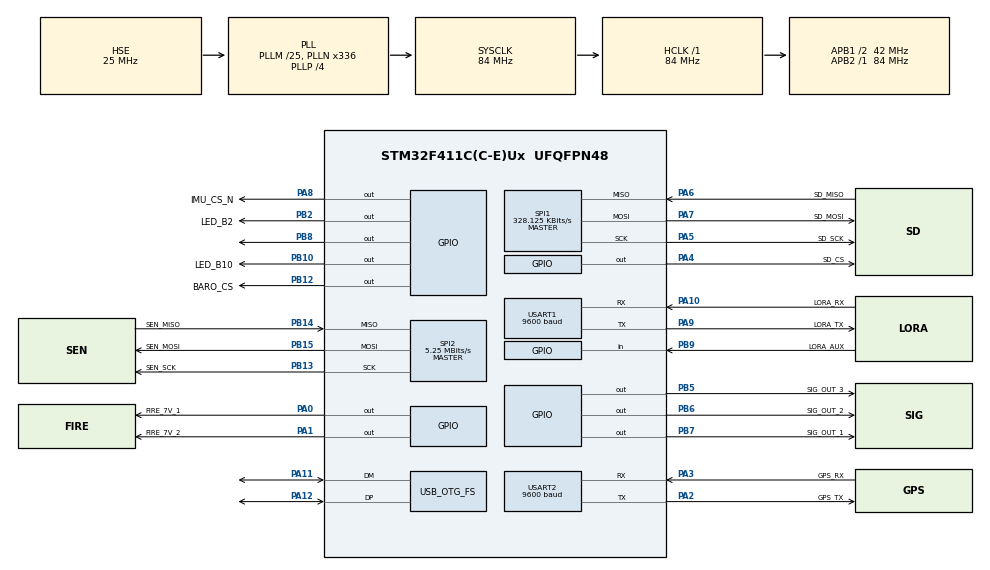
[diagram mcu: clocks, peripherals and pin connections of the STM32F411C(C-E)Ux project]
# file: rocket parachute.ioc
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FATFS._USE_LFN=3
Mcu.Family=STM32F4
Mcu.Name=STM32F411C(C-E)Ux
Mcu.Package=UFQFPN48
NVIC.OTG_FS_IRQn=true\:0\:0\:false\:false\:true\:false\:true\:true
NVIC.PriorityGroup=NVIC_PRIORITYGROUP_4
NVIC.USART1_IRQn=true\:0\:0\:false\:false\:true\:true\:true\:true
NVIC.USART2_IRQn=true\:0\:0\:false\:false\:true\:true\:true\:true
NVIC.TIM2_IRQn=true\:0\:0\:false\:false\:true\:true\:true\:true
PA0-WKUP.GPIO_Label=FIRE_7V_1
PA0-WKUP.Signal=GPIO_Output
PA1.GPIO_Label=FIRE_7V_2
PA1.Signal=GPIO_Output
PA10.GPIO_Label=LORA_RX
PA10.Mode=Asynchronous
PA10.Signal=USART1_RX
PA11.Mode=Device_Only
PA11.Signal=USB_OTG_FS_DM
PA12.Mode=Device_Only
PA12.Signal=USB_OTG_FS_DP
PA2.GPIO_Label=GPS_TX
PA2.Mode=Asynchronous
PA2.Signal=USART2_TX
PA3.GPIO_Label=GPS_RX
PA3.Mode=Asynchronous
PA3.Signal=USART2_RX
PA4.GPIO_Label=SD_CS
PA4.GPIO_PuPd=GPIO_PULLUP
PA4.GPIO_Speed=GPIO_SPEED_FREQ_VERY_HIGH
PA4.PinState=GPIO_PIN_SET
PA4.Signal=GPIO_Output
PA5.GPIO_Label=SD_SCK 
PA5.GPIO_PuPd=GPIO_PULLUP
PA5.Mode=Full_Duplex_Master
PA5.Signal=SPI1_SCK
PA6.GPIO_Label=SD_MISO
PA6.GPIO_PuPd=GPIO_PULLUP
PA6.Mode=Full_Duplex_Master
PA6.Signal=SPI1_MISO
PA7.GPIO_Label=SD_MOSI
PA7.GPIO_PuPd=GPIO_PULLUP
PA7.Mode=Full_Duplex_Master
PA7.Signal=SPI1_MOSI
PA8.GPIO_Label=IMU_CS_N
PA8.PinState=GPIO_PIN_SET
PA8.Signal=GPIO_Output
PA9.GPIO_Label=LORA_TX
PA9.Mode=Asynchronous
PA9.Signal=USART1_TX
PB10.GPIO_Label=LED_B10
PB10.Signal=GPIO_Output
PB12.GPIO_Label=BARO_CS
PB12.PinState=GPIO_PIN_SET
PB12.Signal=GPIO_Output
PB13.GPIO_Label=SEN_SCK
PB13.Mode=Full_Duplex_Master
PB13.Signal=SPI2_SCK
PB14.GPIO_Label=SEN_MISO
PB14.Mode=Full_Duplex_Master
PB14.Signal=SPI2_MISO
PB15.GPIO_Label=SEN_MOSI
PB15.Mode=Full_Duplex_Master
PB15.Signal=SPI2_MOSI
PB2.GPIO_Label=LED_B2
PB2.PinState=GPIO_PIN_SET
PB2.Signal=GPIO_Output
PB5.GPIO_Label=SIG_OUT_3
PB5.Signal=GPIO_Output
PB6.GPIO_Label=SIG_OUT_2
PB6.Signal=GPIO_Output
PB7.GPIO_Label=SIG_OUT_1
PB7.Signal=GPIO_Output
PB8.Signal=GPIO_Output
PB9.GPIO_Label=LORA_AUX
PB9.Signal=GPIO_Input
PC14-OSC32_IN.Mode=LSE-External-Oscillator
PC14-OSC32_IN.Signal=RCC_OSC32_IN
PC15-OSC32_OUT.Mode=LSE-External-Oscillator
PC15-OSC32_OUT.Signal=RCC_OSC32_OUT
PH0\ -\ OSC_IN.Mode=HSE-External-Oscillator
PH0\ -\ OSC_IN.Signal=RCC_OSC_IN
PH1\ -\ OSC_OUT.Mode=HSE-External-Oscillator
PH1\ -\ OSC_OUT.Signal=RCC_OSC_OUT
ProjectManager.HeapSize=0x800
ProjectManager.StackSize=0x1000
ProjectManager.TargetToolchain=STM32CubeIDE
RCC.48MHZClocksFreq_Value=48000000
RCC.AHBFreq_Value=84000000
RCC.APB1CLKDivider=RCC_HCLK_DIV2
RCC.APB1Freq_Value=42000000
RCC.APB1TimFreq_Value=84000000
RCC.APB2Freq_Value=84000000
RCC.APB2TimFreq_Value=84000000
RCC.CortexFreq_Value=84000000
RCC.HCLKFreq_Value=84000000
RCC.HSE_VALUE=25000000
RCC.HSI_VALUE=16000000
RCC.PLLM=25
RCC.PLLN=336
RCC.PLLP=RCC_PLLP_DIV4
RCC.PLLQ=7
RCC.SYSCLKFreq_VALUE=84000000
RCC.SYSCLKSource=RCC_SYSCLKSOURCE_PLLCLK
RCC.VCOOutputFreq_Value=336000000
SPI1.BaudRatePrescaler=SPI_BAUDRATEPRESCALER_256
SPI1.CalculateBaudRate=328.125 KBits/s
SPI1.Direction=SPI_DIRECTION_2LINES
SPI1.Mode=SPI_MODE_MASTER
SPI1.VirtualType=VM_MASTER
SPI2.BaudRatePrescaler=SPI_BAUDRATEPRESCALER_8
SPI2.CLKPhase=SPI_PHASE_2EDGE
SPI2.CLKPolarity=SPI_POLARITY_HIGH
SPI2.CalculateBaudRate=5.25 MBits/s
SPI2.Direction=SPI_DIRECTION_2LINES
SPI2.Mode=SPI_MODE_MASTER
SPI2.VirtualType=VM_MASTER
USART1.BaudRate=9600
USART1.VirtualMode=VM_ASYNC
USART2.BaudRate=9600
USART2.VirtualMode=VM_ASYNC
USB_DEVICE.CLASS_NAME_FS=CDC
USB_DEVICE.VirtualMode=Cdc
USB_DEVICE.VirtualModeFS=Cdc_FS
USB_OTG_FS.VirtualMode=Device_Only
VP_FATFS_VS_Generic.Mode=User_defined
TIM2.Period=1999
TIM2.Prescaler=83
VP_TIM2_VS_ClockSourceINT.Mode=Internal
VP_USB_DEVICE_VS_USB_DEVICE_CDC_FS.Mode=CDC_FS
board=custom

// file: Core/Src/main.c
/* USER CODE BEGIN Header */
/**
  ******************************************************************************
  * @file           : main.c
  * @brief          : 降落傘投放測試韌體（rocket parachute）— 黑丸版
  *
  * 目標：量得準（終端速度）。500Hz IMU CSV + KF2 高度/速度融合。
  * 無開傘邏輯、無 GNSS —— 特性化記錄工具。
  * LoRa（E22 透傳，USART1）：2Hz 遙測 TX，用火箭↔地面共用協定
  *   （shared/protocol.h），地面站不改即可同時收本韌體與飛行韌體。
  *
  * 硬體平台（2026-06-30 起）：WeAct STM32F411 黑丸版 + 自製載板
  *   時鐘   ：HSE 25MHz → PLL → 84MHz（黑丸版板載晶振）
  *   感測器 ：SPI2（PB13/14/15，mode 3）BMP585 CS=PB12、GY-LSM6DS3 CS=PA8
  *   SD 卡  ：SPI1（PA5/6/7）CS=PA4，74HC125 模組，sd_diskio_spi（ChaN）
  *   USB    ：CDC（PA11/PA12），指令列 + 遙測輸出
  *   ★ 載板留有發火通道 PA0/PA1（電火頭）：本韌體開機即拉低、絕不驅動。
  ******************************************************************************
  */
/* USER CODE END Header */
#include "main.h"
#include "fatfs.h"
#include "spi.h"
#include "tim.h"
#include "usart.h"
#include "usb_device.h"
#include "gpio.h"

/* USER CODE BEGIN Includes */
#include <stdint.h>
#include <stdio.h>
#include <string.h>
#include <math.h>

#include "sdcard.h"
#include "logger.h"
#include "bmp585.h"
#include "cmd.h"
#include "imu_fast.h"
#include "lora_e22.h"        /* E22 透傳 LoRa：投放測試遙測（TX，共用協定）*/
#include "sd_diskio_spi.h"   /* SD_disk_initialize：SD 硬重置用 */

/* USB CDC */
#include "usbd_cdc_if.h"
#include "usbd_def.h"
extern uint8_t CDC_Transmit_FS(uint8_t* Buf, uint16_t Len);
extern USBD_HandleTypeDef hUsbDeviceFS;

/* USER CODE END Includes */

/* USER CODE BEGIN PD */
#define MAH_2KP         1.0f      /* Mahony 比例增益 × 2 */
#define MAH_2KI         0.01f     /* Mahony 積分增益 × 2 */

/* ---- 氣壓卡爾曼濾波器參數 ---- */
#define KF_Q  0.1f    /* 過程雜訊方差 (hPa²)：越大追蹤越快 */
#define KF_R  0.01f   /* 量測雜訊方差 (hPa²)：BMP585 RMS≈0.03hPa */

/* ---- 2D 卡爾曼濾波器參數（高度 + 速度，IMU+baro 融合）----
 * ★ 投放測試調校版（與飛行韌體不同）：lin_az 限幅 ±3g、無高g膨脹R。
 *   飛行韌體限幅 ±16g 是為了不砍推力；投放測試沒有推力段，
 *   ±3g 反而能擋掉衝擊事件對速度估算的污染。
 * Q_H：高度過程雜訊，越小越信任 IMU 預測
 * Q_V：速度過程雜訊，越大越快用 baro 修正 IMU 漂移
 * R_H：氣壓計量測雜訊方差（BMP585 高度 RMS ≈ ±0.5m → 0.25）*/
#define KF2_Q_H   0.0001f  /* 高度過程雜訊 */
#define KF2_Q_V   0.002f   /* 速度過程雜訊（每 10ms 步）
                            * 0.002 ≈ 容忍 ~0.5m/s² 的姿態/偏移誤差，
                            *   靜態速度噪聲 σ≈0.25m/s，收斂 <1s —
                            *   符合 10~20m 投放、終端速度 3~6m/s 的量測需求。
                            * 歷史：曾因 TIM2 bug（IMU 無資料→預測步未執行→K1=0）
                            *   誤判為「Q 太小無法修正」而調到 0.5（→速度≈氣壓微分，
                            *   噪聲 ±0.5~1m/s）。TIM2 修復後不需要。            */
#define KF2_R_H   0.25f    /* 氣壓計高度量測雜訊方差 (±0.5m RMS) */
/* USER CODE END PD */

/* USER CODE BEGIN PM */
/* 感測器 SPI：BMP585 + LSM6DSO 共用 SPI2（黑丸版載板）*/
extern SPI_HandleTypeDef hspi2;

/* USER CODE END PM */

void SystemClock_Config(void);

/* USER CODE BEGIN 0 */

static float         ref_press      = 1013.25f; /* 地面氣壓，啟動時初始化 */
static float         rel_alt        = 0.0f;     /* 相對高度（m） */

/* =========================
   Debug helpers
   ========================= */
void cdc_write(const char *s);   /* 前向宣告，下方定義 */
/* 黑丸版載板：USART1 = LoRa E22（透傳遙測 TX，見上）；debug 一律走 USB CDC。
 * uart1_write 仍別名到 CDC（保留名稱，cmd.c/logger.c 等舊呼叫點無需改動）。 */
void uart1_write(const char *s)
{
  if (!s) return;
  cdc_write(s);
}

void cdc_write(const char *s)
{
  if (!s || hUsbDeviceFS.pClassData == NULL) return;
  /* CONFIGURED=3, SUSPENDED=4：兩者都允許傳送 */
  if (hUsbDeviceFS.dev_state < 3U) return;

  const uint8_t *p = (const uint8_t*)s;
  size_t remaining = strlen(s);

  while (remaining > 0)
  {
    uint16_t chunk = (uint16_t)(remaining > 64 ? 64 : remaining);
    /* 重試 3 次，每次間隔 5ms */
    for (int r = 0; r < 3; r++)
    {
      if (CDC_Transmit_FS((uint8_t*)p, chunk) == USBD_OK) break;
      HAL_Delay(5);
    }
    p += chunk;
    remaining -= chunk;
    if (remaining > 0) HAL_Delay(5);
  }
}

/* =========================
   LSM6DS3（GY-LSM6DS3 模組）via SPI2, CS = PA8 (active low)  [黑丸版載板]
   WHO=0x69/0x6A/0x6C 皆接受（DS3/DS3TR-C/DSO 暫存器映射相容）
   ========================= */
#define IMU_CS_PORT IMU_CS_N_GPIO_Port   /* CubeMX label「IMU_CS_N」= PA8 */
#define IMU_CS_PIN  IMU_CS_N_Pin
static inline void IMU_CS_LOW(void)  { HAL_GPIO_WritePin(IMU_CS_PORT, IMU_CS_PIN, GPIO_PIN_RESET); }
static inline void IMU_CS_HIGH(void) { HAL_GPIO_WritePin(IMU_CS_PORT, IMU_CS_PIN, GPIO_PIN_SET);   }

static uint8_t lsm6_read_reg(uint8_t reg)
{
  uint8_t tx[2] = { (uint8_t)(reg | 0x80), 0x00 };
  uint8_t rx[2] = { 0 };
  IMU_CS_LOW();
  (void)HAL_SPI_TransmitReceive(&hspi2, tx, rx, 2, 100);
  IMU_CS_HIGH();
  return rx[1];
}

static void lsm6_write_reg(uint8_t reg, uint8_t val)
{
  uint8_t tx[2] = { (uint8_t)(reg & 0x7F), val };
  IMU_CS_LOW();
  (void)HAL_SPI_Transmit(&hspi2, tx, 2, 100);
  IMU_CS_HIGH();
}

static int lsm6_read_burst(uint8_t start_reg, uint8_t *buf, uint16_t len)
{
  uint8_t tx[32];
  uint8_t rx[32];
  if (len + 1 > sizeof(tx)) return -9;

  tx[0] = (uint8_t)(start_reg | 0x80); // READ only; auto-increment comes from CTRL3_C.IF_INC
  memset(&tx[1], 0x00, len);

  IMU_CS_LOW();
  HAL_StatusTypeDef ok = HAL_SPI_TransmitReceive(&hspi2, tx, rx, (uint16_t)(len + 1), 200);
  IMU_CS_HIGH();

  if (ok != HAL_OK) return -1;
  memcpy(buf, &rx[1], len);
  return 0;
}

static int lsm6_init(void)
{
  HAL_Delay(20);

  uint8_t who = lsm6_read_reg(0x0F);
  char b[64];
  int n = snprintf(b, sizeof(b), "WHO=%02X\r\n", who);
  if (n < 0) {
    memcpy(b, "WHO=ERR\r\n", sizeof("WHO=ERR\r\n"));
    b[sizeof(b)-1] = '\0';
  } else if ((size_t)n >= sizeof(b)) {
    b[sizeof(b)-1] = '\0';
  }
  cdc_write(b);

  /* WHO_AM_I 接受清單（暫存器映射相容，init/讀取流程全同）：
   *   0x69 = LSM6DS3（GY-LSM6DS3 模組，目前載板用這顆）
   *   0x6A = LSM6DS3TR-C（GY 模組另一常見料）
   *   0x6C = LSM6DSO/LSM6DSOTR（原設計料）                    */
  if (who != 0x69 && who != 0x6A && who != 0x6C) return -10;

  lsm6_write_reg(0x12, 0x01); // SW_RESET
  HAL_Delay(50);

  lsm6_write_reg(0x12, 0x44); // BDU + IF_INC
  lsm6_write_reg(0x10, 0x64); // XL 416Hz, +/-16g
  lsm6_write_reg(0x11, 0x6C); // G  416Hz, 2000dps
  lsm6_write_reg(0x18, 0x38); // CTRL9_XL: enable XL X/Y/Z
  lsm6_write_reg(0x19, 0x38); // CTRL10_C: enable G  X/Y/Z
  return 0;
}

// 讀 0x20 開始：TEMP(2) + G(6) + A(6) ＝ 14 bytes
static int lsm6_read_raw_LSM6DSOTR(int16_t *temp,
                                  int16_t *gx, int16_t *gy, int16_t *gz,
                                  int16_t *ax, int16_t *ay, int16_t *az)
{
  uint8_t d[14] = {0};

  // OUT_TEMP_L = 0x20
  int rr = lsm6_read_burst(0x20, d, 14);
  if (rr != 0) return rr;

  *temp = (int16_t)((d[1]  << 8) | d[0]);   // TEMP
  *gx   = (int16_t)((d[3]  << 8) | d[2]);   // Gx
  *gy   = (int16_t)((d[5]  << 8) | d[4]);   // Gy
  *gz   = (int16_t)((d[7]  << 8) | d[6]);   // Gz
  *ax   = (int16_t)((d[9]  << 8) | d[8]);   // Ax
  *ay   = (int16_t)((d[11] << 8) | d[10]);  // Ay
  *az   = (int16_t)((d[13] << 8) | d[12]);  // Az

  return 0;
}

/* ======================================================
   Mahony 互補濾波器（全局狀態）— 開機校準用（主迴圈版）
   校準完成後姿態交棒給 ImuFast ISR（500Hz）
   ====================================================== */
static float q0=1.f,q1=0.f,q2=0.f,q3=0.f;   /* 四元數 */
static float mah_ix=0.f,mah_iy=0.f,mah_iz=0.f; /* 積分項 */

static void mahony_update(float ax,float ay,float az,
                          float gx,float gy,float gz,float dt)
{
  float n=sqrtf(ax*ax+ay*ay+az*az);

  /* ★2026-08-07：|a| 閘取代舊的 `if(n<0.001f)return;`。理由與實測後果見 imu_fast.h。
   * 舊版那個 return 會連下面的陀螺積分一起跳過 —— 自由落體時姿態直接凍結。
   * 現在帶外只跳過校正，積分永遠會跑。
   * 這支只在開機收斂/校準時被呼叫（靜止，|a|≈1 g），投放中跑的是
   * imu_fast.c 的 mahony_isr()；兩邊用同一組常數，避免日後改一邊漏一邊。*/
  if (n > MAH_ACC_GATE_LO && n < MAH_ACC_GATE_HI) {
    n=1.f/n; ax*=n;ay*=n;az*=n;

    float vx=2.f*(q1*q3-q0*q2);
    float vy=2.f*(q0*q1+q2*q3);
    float vz=q0*q0-q1*q1-q2*q2+q3*q3;

    float ex=ay*vz-az*vy;
    float ey=az*vx-ax*vz;
    float ez=ax*vy-ay*vx;

    mah_ix+=ex*MAH_2KI*dt; mah_iy+=ey*MAH_2KI*dt; mah_iz+=ez*MAH_2KI*dt;
    gx+=MAH_2KP*ex+mah_ix; gy+=MAH_2KP*ey+mah_iy; gz+=MAH_2KP*ez+mah_iz;
  }

  gx*=0.5f*dt; gy*=0.5f*dt; gz*=0.5f*dt;
  float qa=q0,qb=q1,qc=q2;
  q0+=(-qb*gx-qc*gy-q3*gz);
  q1+=(qa*gx+qc*gz-q3*gy);
  q2+=(qa*gy-qb*gz+q3*gx);
  q3+=(qa*gz+qb*gy-qc*gx);

  n=1.f/sqrtf(q0*q0+q1*q1+q2*q2+q3*q3);
  q0*=n;q1*=n;q2*=n;q3*=n;
}

/* 旋轉體座標系加速度到世界系，提取垂直分量（Z軸向上） */
static float world_az(float ax,float ay,float az)
{
  return 2.f*(q1*q3-q0*q2)*ax
        +2.f*(q2*q3+q0*q1)*ay
        +(q0*q0-q1*q1-q2*q2+q3*q3)*az;
}

/* ======================================================
   IMU 積分狀態
   ====================================================== */
static float  az_bias_g   = 0.0f;  /* 垂直加速度偏差 (g)，world frame     */
static float  ax_bias_g   = 0.0f;  /* 加速度計 X 軸偏移 (g)              */
static float  ay_bias_g   = 0.0f;  /* 加速度計 Y 軸偏移 (g)              */
static float  gbx_dps     = 0.0f;  /* 陀螺儀 X 軸零率偏移 (dps)          */
static float  gby_dps     = 0.0f;  /* 陀螺儀 Y 軸零率偏移 (dps)          */
static float  gbz_dps     = 0.0f;  /* 陀螺儀 Z 軸零率偏移 (dps)          */
static float  imu_vz      = 0.0f;  /* 垂直速度，含 baro 修正 (m/s)（互補濾波，保留備用）*/
static float  imu_hz      = 0.0f;  /* IMU+baro 互補高度（保留備用）                      */
/* ── 降落傘終端速度用：氣壓計微分速度 ──────────────────────────
 * 氣壓計每 20ms 更新一次高度，微分後 LP 濾波（τ=1s）得到垂直速度。
 * 優於 IMU 積分的原因：終端速度時 g≈1g，阻尼邏輯會把 IMU 速度歸零；
 * 氣壓計微分不受 g 值影響，能正確反映降落速度。
 * ──────────────────────────────────────────────────────────── */
static float  vz_baro_lp  = 0.0f;  /* 氣壓計微分垂直速度 LP 濾波 (m/s)   */
/* ── 2D 卡爾曼濾波器狀態（高度 + 速度，IMU+baro 融合）──────────
 * 預測：IMU 垂直加速度（10ms），修正：氣壓計高度（20ms）
 * kf2_h 取代 imu_hz，kf2_v 取代 vz_ms，漂移自動修正      */
static float  kf2_h   = 0.0f;   /* KF 估計高度 (m)               */
static float  kf2_v   = 0.0f;   /* KF 估計速度 (m/s)             */
static float  kf2_p00 = 1.0f;   /* 協方差 P[高度,高度]           */
static float  kf2_p01 = 0.0f;   /* 協方差 P[高度,速度]           */
static float  kf2_p11 = 1.0f;   /* 協方差 P[速度,速度]           */
static uint32_t sd_write_cnt = 0;  /* SD 成功寫入次數 */
static uint8_t  imu_ok    = 0;     /* IMU 初始化是否成功 */

/* ---- 模組存活狀態 ---- */
typedef struct {
    uint8_t bmp585  : 1;   /* 氣壓計 */
    uint8_t imu     : 1;   /* IMU */
    uint8_t sdcard  : 1;   /* SD 卡 */
    uint8_t lora    : 1;   /* LoRa E22（透傳 TX）*/
} ModStatus_t;
static ModStatus_t mod      = {0};   /* 預設全部失效 */

/* ---- 落地偵測狀態機 ---- */
typedef enum {
    LAND_FLIGHT   = 0,  /* 飛行中 */
    LAND_IMPACT   = 1,  /* 偵測到高 g 碰撞，等待確認 */
    LAND_LANDED   = 2,  /* 已確認落地，vz 持續歸零 */
} LandState_t;
static uint8_t bmp_err_cnt  = 0;     /* BMP 連續失敗計數 */
static uint8_t imu_err_cnt  = 0;     /* IMU 連續失敗計數 */
#define MOD_ERR_MAX  5               /* 連續 N 次失敗 → 標記死亡 */

/* ======================================================
   氣壓計 Kalman 濾波器
   ====================================================== */
static float kf_p_est  = 1013.25f;  /* 估計氣壓 */
static float kf_p_err  = 1.0f;      /* 估計誤差 */

static float kf_update(float meas)
{
  kf_p_err += KF_Q;
  float K = kf_p_err / (kf_p_err + KF_R);
  kf_p_est += K * (meas - kf_p_est);
  kf_p_err *= (1.f - K);
  return kf_p_est;
}

/* USER CODE END 0 */

int main(void)
{

  /* MCU Configuration--------------------------------------------------------*/

  /* Reset of all peripherals, Initializes the Flash interface and the Systick. */
  HAL_Init();

  /* Configure the system clock */
  SystemClock_Config();

  /* USER CODE BEGIN SysInit */
  /* ── 提前啟動 USB（時鐘完成後立刻，早於 USART/TIM/SPI init）──
   * 若後續任何 init 失敗進入 Error_Handler，USB IRQ 仍持續運作，
   * COM 埠不會消失，方便診斷。
   * usb_device.c 內有 guard，防止 CubeMX 生成的第二次呼叫重複初始化。 */
  MX_GPIO_Init();           /* USB D+/D- (PA11/PA12) 需要 GPIOA 時鐘  */
  MX_USB_DEVICE_Init();     /* 先啟動 USB CDC                          */
  HAL_Delay(500);           /* 給 Windows 500ms 開始枚舉               */
  /* USER CODE END SysInit */

  /* Initialize all configured peripherals */
  MX_GPIO_Init();
  MX_USART1_UART_Init();
  MX_TIM2_Init();
  MX_USB_DEVICE_Init();
  MX_FATFS_Init();
  MX_SPI1_Init();
  MX_SPI2_Init();
  MX_USART2_UART_Init();
  /* USER CODE BEGIN 2 */

  /* ★ 發火腳強制拉低（最優先確保）────────────────────────────────
   * 本韌體是投放測試工具，但跑在飛行載板上：PA0/PA1 接電火頭驅動級。
   * 開機立即拉低 + 全程絕不驅動；配合硬體基極 10kΩ 下拉雙保險。 */
  HAL_GPIO_WritePin(FIRE_7V_1_GPIO_Port, FIRE_7V_1_Pin, GPIO_PIN_RESET);
  HAL_GPIO_WritePin(FIRE_7V_2_GPIO_Port, FIRE_7V_2_Pin, GPIO_PIN_RESET);

  /* 等 USB CDC 完整枚舉 */
  HAL_Delay(1000);

  /* ---- IMU 初始化（重試 3 次）---- */
  for (int _i = 0; _i < 3; _i++) {
    if (lsm6_init() == 0) { mod.imu = 1; imu_ok = 1; break; }
    HAL_Delay(200);
  }

  /* ---- BMP585 初始化（重試 5 次，間隔 300ms）---- */
  HAL_Delay(50);   /* 確保 SPI2 空閒後再存取 BMP CS */
  for (int _i = 0; _i < 5; _i++) {
    uint8_t bid = BMP585_Init(&hspi2);
    char bmp_msg[40];
    snprintf(bmp_msg, sizeof(bmp_msg), "BMP_INIT try%d id=0x%02X\r\n", _i, bid);
    cdc_write(bmp_msg);
    if (bid == 0x50 || bid == 0x51) { mod.bmp585 = 1; break; }
    HAL_Delay(300);
  }
  /* ref_press 故意延後到 IMU 校準之後再取樣（見下方），
   * 讓 BMP585 多 ~2 秒暖機，消除冷啟熱漂移導致的 -4m 系統偏移 */

  /* ---- LoRa 初始化（E22 透傳模式；投放測試遙測 TX）----
   * 透傳模式下驅動回 0 只代表 UART/IT 就緒，不保證 E22 有電/有接（無 AUX
   * 驗證）；mod.lora 僅反映驅動狀態。M0/M1 硬接 GND（載板）。 */
  if (LoRa_Init() == 0) mod.lora = 1;

  /* ---- 開機狀態整合報告（USB CDC + LoRa 各送一份）---- */
  { char b[96];
    snprintf(b, sizeof(b),
      "MOD: BMP=%d IMU=%d LORA=%d  REF_PRESS=%.2f hPa\r\n",
      mod.bmp585, mod.imu, mod.lora, ref_press);
    cdc_write(b);
    if (mod.lora) LoRa_SendStr(b); }   /* 開機訊息用阻塞送，主迴圈才走非阻塞 */

  /* ---- IMU 校準（僅在 IMU 成功初始化時執行）---- */
  if (mod.imu) {
    /* 收斂階段（1 秒）：讓 Mahony 姿態估算收斂到靜止方向 */
    for (int ci = 0; ci < 100; ci++) {
      HAL_Delay(10);
      int16_t rt,rgx,rgy,rgz,rax,ray,raz;
      if (lsm6_read_raw_LSM6DSOTR(&rt,&rgx,&rgy,&rgz,&rax,&ray,&raz)==0) {
        float a_x=rax/2048.f, a_y=ray/2048.f, a_z=raz/2048.f;  /* ±16g */
        float g_x=rgx/14.286f*0.017453293f;
        float g_y=rgy/14.286f*0.017453293f;
        float g_z=rgz/14.286f*0.017453293f;
        mahony_update(a_x,a_y,a_z,g_x,g_y,g_z,0.01f);
      }
    }
    /* 校準階段（1 秒）：同時計算 az/ax/ay 加速度偏移 + 陀螺儀零率偏移 */
    float s_az=0,s_ax=0,s_ay=0,s_gx=0,s_gy=0,s_gz=0;
    int   n_cal = 0;
    for (int ci = 0; ci < 100; ci++) {
      HAL_Delay(10);
      int16_t rt,rgx,rgy,rgz,rax,ray,raz;
      if (lsm6_read_raw_LSM6DSOTR(&rt,&rgx,&rgy,&rgz,&rax,&ray,&raz)==0) {
        float a_x=rax/2048.f, a_y=ray/2048.f, a_z=raz/2048.f;  /* ±16g */
        float g_x=rgx/14.286f*0.017453293f;
        float g_y=rgy/14.286f*0.017453293f;
        float g_z=rgz/14.286f*0.017453293f;
        mahony_update(a_x,a_y,a_z,g_x,g_y,g_z,0.01f);
        s_az += world_az(a_x,a_y,a_z);
        s_ax += a_x;
        s_ay += a_y;
        s_gx += rgx/14.286f;   /* dps */
        s_gy += rgy/14.286f;
        s_gz += rgz/14.286f;
        n_cal++;
      }
    }
    if (n_cal > 0) {
      az_bias_g = (s_az / n_cal) - 1.0f; /* 垂直方向：去掉 1g 重力 */
      ax_bias_g = s_ax / n_cal;           /* 水平方向：整體偏移      */
      ay_bias_g = s_ay / n_cal;
      gbx_dps   = s_gx / n_cal;           /* 陀螺零率偏移 (dps)      */
      gby_dps   = s_gy / n_cal;
      gbz_dps   = s_gz / n_cal;
      char b[128];
      snprintf(b, sizeof(b),
        "BIAS: az=%.5fg ax=%.5fg ay=%.5fg | gx=%.3f gy=%.3f gz=%.3f dps (n=%d)\r\n",
        az_bias_g, ax_bias_g, ay_bias_g, gbx_dps, gby_dps, gbz_dps, n_cal);
      cdc_write(b);
    }
  }

  /* ---- 地面氣壓基準（IMU 校準完成後取樣，BMP585 已暖機 ~2s）──────
   * BMP585 冷啟動有 +0.5 hPa 熱漂移（≈ -4m），等感測器穩定後取樣
   * 可將系統偏移從 -4m 降至 ±0.5m 以內。
   * 取 20 筆平均（400ms）並剔除超範圍讀值。                     */
  if (mod.bmp585) {
    float sum = 0.f; int cnt = 0;
    for (int _bi = 0; _bi < 20; _bi++) {
      HAL_Delay(20);
      float p = BMP585_ReadPressure();
      if (p > 800.f && p < 1100.f) { sum += p; cnt++; }
    }
    if (cnt >= 5) {
      ref_press = sum / cnt;
      kf_p_est  = ref_press;
    }
    char b2[64];
    snprintf(b2, sizeof(b2), "REF_PRESS=%.2f hPa (n=%d)\r\n", ref_press, cnt);
    cdc_write(b2);
  }

  /* ---- ImuFast 初始化（TIM2 500Hz 中斷）----
   * 必須在 IMU 初始化 + 校準完成後才啟動，
   * 否則 ISR 會在 sensor 未配置前讀到 gyro=0 的垃圾資料 */
  ImuFast_Init();
  /* 傳入校準後的初始四元數與感測器偏移，讓 ISR Mahony 從正確姿態開始 */
  ImuFast_SetAttitude(q0, q1, q2, q3);
  ImuFast_SetBias(gbx_dps * 0.017453293f,
                  gby_dps * 0.017453293f,
                  gbz_dps * 0.017453293f,
                  ax_bias_g, ay_bias_g);
  HAL_TIM_Base_Start_IT(&htim2);

  /* USER CODE END 2 */

  /* Infinite loop */
  /* USER CODE BEGIN WHILE */
  uint32_t t_imu = 0, t_bmp = 0, t_out = 0;
  uint8_t  sd_init_done  = 0;
  uint8_t  sd_init_tries = 0;   /* SD init 重試計數（第一次上電偶發 cmd0 亂碼，隔 3s 再試會好）*/
  float ax=0,ay=0,az=1,gx=0,gy=0,gz=0;
  float press = ref_press, total_g = 1;

  uint8_t cf_init = 0;

  /* 落地偵測狀態機 */
  LandState_t land_state = LAND_FLIGHT;
  uint32_t    land_t0    = 0;
  float       land_baro0 = 0.0f;

  /* IMU.CSV 高速記錄用的 FatFs 檔案 */
  FIL   imu_fil;
  uint8_t  imu_fil_open  = 0;   /* 1 = 已開檔 */
  uint16_t csv_err_cnt   = 0;   /* CSV 寫入錯誤次數（含已自動復原者）*/
  char     csv_name[16]  = "";  /* 本次開機使用的序號檔名，如 IMU_003.CSV */
  /* retry buffer：f_write 失敗的那批 64 筆先存起來，下次迴圈補寫 */
  static char csv_retry_buf[8192];
  static int  csv_retry_len = 0;

  while (1)
  {
    /* USER CODE END WHILE */

    /* USER CODE BEGIN 3 */

    uint32_t now = HAL_GetTick();

    /* ─── 指令系統 ─── */
    cmd_execute_pending();
    cmd_flush_echo();

    /* ─── SD 卡延遲初始化（啟動後 3 秒；失敗每 3s 自動重試，最多 5 次）───
     * SPI SD 實測：第一次上電偶發 cmd0 回亂碼，是上電初期電源/訊號未穩；
     * 過幾秒重試即成功。 */
    if (!sd_init_done && now >= 3000UL + (uint32_t)sd_init_tries * 3000UL) {
      /* 先只掛載，掃序號後再開檔，使 LOG 與 CSV 同號且都不覆蓋舊資料 */
      if (logger_mount()) {
        sd_init_done = 1;
        /* 找下一個未使用的序號：IMU/LOG 任一存在就跳號（兩檔保證同步）
         * IMU_001.CSV ↔ LOG_001.TXT … 099 */
        int seq = 1;
        for (; seq <= 99; seq++) {
          char in[16], ln[16]; FILINFO fi;
          snprintf(in, sizeof(in), "IMU_%03d.CSV", seq);
          snprintf(ln, sizeof(ln), "LOG_%03d.TXT", seq);
          if (f_stat(in, &fi) != FR_OK && f_stat(ln, &fi) != FR_OK) break; /* 兩者皆不存在 */
        }
        if (seq > 99) seq = 99;   /* 滿了蓋最後一組 */
        snprintf(csv_name, sizeof(csv_name), "IMU_%03d.CSV", seq);
        { char ln[16]; snprintf(ln, sizeof(ln), "LOG_%03d.TXT", seq);
          logger_set_name(ln); }
        /* 用序號檔名開 LOG（APPEND，恢復路徑沿用同名接續，不清空）*/
        logger_open();
      } else {
        extern FRESULT fres;
        extern volatile uint8_t SD_dbg_cmd0, SD_dbg_cmd8, SD_dbg_spi_status;
        extern volatile uint32_t SD_dbg_spierr, SD_dbg_spi_errcode;
        sd_init_tries++;
        if (sd_init_tries >= 5) sd_init_done = 1;   /* 5 次都失敗才放棄 */
        char e[112];
        snprintf(e, sizeof(e),
                 "SD: FAIL %u/5%s (fres=%d cmd0=%02X cmd8=%02X spierr=%lu st=%u ec=0x%lX)\r\n",
                 (unsigned)sd_init_tries, (sd_init_tries >= 5) ? " GIVE-UP" : " retrying",
                 (int)fres, (unsigned)SD_dbg_cmd0, (unsigned)SD_dbg_cmd8,
                 (unsigned long)SD_dbg_spierr, (unsigned)SD_dbg_spi_status,
                 (unsigned long)SD_dbg_spi_errcode);
        cdc_write(e);
      }
      if (sd_init_done && logger_is_ready()) {
        mod.sdcard = 1;
        cdc_write("SD: OK\r\n");
        /* 開啟新序號 CSV（建新檔，不覆蓋舊資料）*/
        if (f_open(&imu_fil, csv_name, FA_WRITE | FA_CREATE_ALWAYS) == FR_OK) {
          imu_fil_open  = 1;
          csv_retry_len = 0;
          /* 寫入 CSV 標頭 */
          UINT bw_hdr = 0;
          /* 欄位名精確化：vz/高度兩欄存的都是 KF2（Kalman）值，
           * 舊名 vz_ms / imu_hz_m 誤導（imu_hz_m 掛「imu」卻存 kf2_h，
           * 是舊 PI 時代殘留）→ 改 kf_vz_ms / kf_h_m，餵 AI 不再認錯。
           * baro_m = 裸氣壓相對高度（保留）。資料行是位置對應，不用改。*/
          const char *hdr = "ts_us,gx_dps,gy_dps,gz_dps,ax_g,ay_g,az_g,g_tot,baro_m,kf_vz_ms,kf_h_m\n";
          /* 建檔即持久（與 LOG 的 BOOT 行同等待遇）：否則首次持久點在
           * 首個 4 批 sync（~0.5s）後，墜機重開機的幽靈開機仍可能留下
           * 0-byte CSV。header 寫入/沖洗結果要檢查——失敗照報 OK 會讓
           * 幽靈開機修復變成機率性的（code-review S3）。 */
          FRESULT fr_hdr = f_write(&imu_fil, hdr, strlen(hdr), &bw_hdr);
          if (fr_hdr == FR_OK && bw_hdr == (UINT)strlen(hdr))
            fr_hdr = f_sync(&imu_fil);
          { char msg[40];
            snprintf(msg, sizeof(msg), "%s: %s\r\n", csv_name,
                     (fr_hdr == FR_OK) ? "OK" : "OK (HDR-ERR)");
            cdc_write(msg); }
          if (fr_hdr != FR_OK) csv_err_cnt++;
          /* SYNC 標記：寫入 LOG，記錄同一瞬間的兩種時間基準，
           * 事後分析可用 T(ms) − ts_us(µs)/1000 對齊 LOG 與 CSV 時間軸 */
          { char sm[64]; UINT bw_s = 0;
            snprintf(sm, sizeof(sm), "SYNC T=%lu ts_us=%lu\r\n",
                     (unsigned long)now, (unsigned long)ImuFast_GetTs());
            f_write(&file, sm, strlen(sm), &bw_s); f_sync(&file);
            cdc_write(sm); }
        } else {
          { char msg[32]; snprintf(msg,sizeof(msg),"%s: FAIL\r\n",csv_name);
            cdc_write(msg); }
        }
      }
    }

    /* ─── IMU 每 10ms ─── */
    if (now - t_imu >= 10) {
      float dt = (float)(now - t_imu) * 0.001f;
      if (dt > 0.05f) dt = 0.05f;
      t_imu = now;

      if (mod.imu) {
        /* 從 ImuFast ring buffer peek 最新一筆，無需鎖 SPI2 */
        ImuSample_t latest;
        int imu_rd = ImuFast_GetLatest(&latest);
        if (imu_rd == 0) {
          imu_err_cnt = 0;
          /* 原始值轉換 */
          ax = (float)latest.ax / 2048.f;   /* ±16g: 1g = 2048 LSB */
          ay = (float)latest.ay / 2048.f;
          az = (float)latest.az / 2048.f;
          const float deg2rad = 0.017453293f;
          gx = (float)latest.gx / 14.286f * deg2rad;
          gy = (float)latest.gy / 14.286f * deg2rad;
          gz = (float)latest.gz / 14.286f * deg2rad;

          /* 套用 bias 校準值（陀螺偏移已由 ISR Mahony 內部處理）*/
          float ax_c = ax - ax_bias_g;
          float ay_c = ay - ay_bias_g;

          total_g = sqrtf(ax_c*ax_c + ay_c*ay_c + az*az);
          /* Mahony 已移至 500Hz ISR，主迴圈直接讀取 ISR 輸出 */

          /* 積分垂直速度/高度 */
          {
            /* imu_fast_world_az：ISR Mahony 輸出的世界系垂直加速度（g，含 1g 重力）
             * 減去 az_bias_g 修正世界系垂直偏移，再轉 m/s² 並扣除重力 */
            float az_w   = imu_fast_world_az - az_bias_g;
            float lin_az = (az_w - 1.0f) * 9.80665f;
            float g_dev  = fabsf(total_g - 1.0f);

            /* ── imu+baro 互補版本 ── */
            imu_vz += lin_az * dt;
            imu_hz += imu_vz * dt;
            /* 阻尼：必須同時滿足 (g≈1g) AND (氣壓計確認速度接近零)
             * 純靠 g 判斷靜止在降落傘場景下會誤判：
             * 終端速度時 g≈1g（阻力=重力），但實際仍在快速下降。
             * vz_baro_lp > 0.5m/s 表示氣壓計偵測到真實運動 → 不阻尼 */
            if      (g_dev < 0.08f && fabsf(vz_baro_lp) < 0.5f)
              imu_vz *= (1.0f - dt / 0.15f);
            else if (g_dev < 0.20f && fabsf(vz_baro_lp) < 1.0f)
              imu_vz *= (1.0f - dt / 1.0f);

            /* ── KF2 預測（10ms，用 IMU 垂直加速度）──────────────
             * 狀態轉移矩陣 F = [[1,dt],[0,1]]
             * h_pred = h + v*dt + 0.5*a*dt²
             * v_pred = v + a*dt
             * P_pred = F*P*F^T + Q
             * lin_az 限幅 ±3g（30 m/s²）：避免衝擊事件污染速度估算
             * ★ 投放測試專用值；飛行韌體是 ±16g（勿互相照抄）    */
            {
              float dt2 = dt * dt;
              float az_kf = lin_az;
              if (az_kf >  29.4f) az_kf =  29.4f;   /* +3g */
              if (az_kf < -29.4f) az_kf = -29.4f;   /* -3g */
              kf2_h += kf2_v * dt + 0.5f * az_kf * dt2;
              kf2_v += az_kf * dt;
              float p00 = kf2_p00 + dt*(kf2_p01 + kf2_p01) + dt2*kf2_p11 + KF2_Q_H;
              float p01 = kf2_p01 + dt * kf2_p11;
              float p11 = kf2_p11 + KF2_Q_V;
              kf2_p00 = p00;
              kf2_p01 = p01;
              kf2_p11 = p11;
            }
          }
          /* 更新 ImuFast 快照（100Hz）
           * vz_ms = KF2 融合速度（IMU 預測 + baro 修正）
           * imu_hz_m = KF2 融合高度                        */
          imu_fast_vz_ms  = kf2_v;
          imu_fast_hz_m   = kf2_h;

          /* ★ 落地即刻搶救（純 IMU 路徑）：>6g 且下降中 → 馬上把 CSV
           * 沖進 FAT，跟「電池被撞飛斷電」賽跑（實證兩次的死法）。
           * 刻意不放在落地狀態機（氣壓閘門內）：撞擊瞬間正是 BMP 最易
           * 讀值異常的時刻，閘門內的搶救在最該工作的場景反而不執行。
           * 節流 2s：防彈跳落地重入連發 sync；失敗計入 csv_err_cnt
           * 留痕（e 計數），不再靜默。已寫入的終端速度段變持久；
           * 撞擊尖峰本身還在 ring buffer，需電源再活 ~0.2s 才排得出。*/
          {
            static uint32_t rescue_t = 0;
            if (total_g > 6.0f && kf2_v < -1.0f && imu_fil_open
                && now - rescue_t >= 2000UL) {
              rescue_t = now;
              if (f_sync(&imu_fil) != FR_OK) csv_err_cnt++;
            }
          }
        } else {
          /* IMU 讀取連續失敗 → 標記死亡 */
          if (++imu_err_cnt >= MOD_ERR_MAX) {
            mod.imu = 0; imu_ok = 0;
            cdc_write("WARN: IMU DEAD\r\n");
          }
        }
      }
    }

    /* ─── BMP585 每 10ms（100Hz）───
     * 100Hz 在感測器能力內（OSR×4 有效轉換率 ~140Hz），每次讀到的都是
     * 新轉換值；再高只會重複讀同一筆轉換（資訊上限在感測器，非讀取率）。*/
    if (now - t_bmp >= 10) {
      float dt_baro = (float)(now - t_bmp) * 0.001f;
      if (dt_baro > 0.5f) dt_baro = 0.5f;
      t_bmp = now;

      if (mod.bmp585) {
        ImuFast_LockSpi();
        float p_raw = BMP585_ReadPressure();
        ImuFast_UnlockSpi();

        /* ── 凍結看門狗：raw 連續 100 次(1s)完全相同 = 感測器卡死 ──
         * 真實氣壓在 OSR×4 下必有 ±幾 LSB 雜訊，完全不變只可能是
         * 轉換停止（暫存器被 SPI 毛刺改寫 / 狀態機卡死）→ 重新初始化。
         * SPI 整條死掉時 ReadPressure 回 0、raw 也不更新 → 同樣觸發。*/
        {
          static uint32_t bmp_raw_prev = 0;
          static uint8_t  bmp_same_cnt = 0;
          uint32_t raw_now = BMP585_GetLastRaw();
          if (raw_now == bmp_raw_prev) {
            if (++bmp_same_cnt >= 100) {
              bmp_same_cnt = 0;
              ImuFast_LockSpi();
              BMP585_Init(&hspi2);
              ImuFast_UnlockSpi();
              cdc_write("BMP: FREEZE REINIT\r\n");
            }
          } else { bmp_same_cnt = 0; bmp_raw_prev = raw_now; }
        }

        if (p_raw > 800.f && p_raw < 1100.f) {

          /* ── 氣壓突變保護（plausibility gate，含防鎖死機制）─────
           * 候選高度與上一有效值差 >10m/10ms（=1000m/s）→ 拒收，
           * 攔截 SPI 毛刺（實測毛刺步階 15~230m）。
           * 防鎖死：若毛刺先被接受、真實讀值反而被擋（IMU_016 實案：
           * 假值 -32.4m 進門後，真值 +1m 連續被拒 18.5s = 氣壓「凍結」），
           * 連續拒收 50 次（0.5s）即強制重新錨定 — 寧可接受一次跳變，
           * 不能永久失明。重新錨定後 KF2 由下方 >5m 重置邏輯對齊。  */
          float alt_cand = 44330.f * (1.f - powf(p_raw / ref_press, 0.1903f));
          float alt_jump = alt_cand - rel_alt;   /* 與上一有效值的差 */

          static uint8_t baro_rej_cnt = 0;
          int baro_valid = (now < 2000UL) || (fabsf(alt_jump) < 10.0f);
          if (!baro_valid && ++baro_rej_cnt >= 50) {
            baro_valid = 1;          /* 0.5s 連續拒收 → 重新錨定到候選值 */
          }

          if (baro_valid) {
            baro_rej_cnt = 0;
            bmp_err_cnt = 0;
            press   = kf_update(p_raw);   /* 只對有效讀值更新 KF */
            rel_alt = 44330.f * (1.f - powf(press / ref_press, 0.1903f));

            /* 更新 ImuFast 快照：ISR 取樣時使用最新值 */
            imu_fast_baro_m = rel_alt;
            if (!cf_init) { cf_init = 1; }

            /* ── KF2 大偏差重置：高度誤差 > 5m 時直接對齊氣壓計 ──
             * 原因：衝擊/翻滾導致 IMU 飽和，kf2_v 積分偏離真實值；
             * 此時 baro 是唯一可信來源，強制重置比慢速收斂更可靠。
             * 重置後以高協方差重新讓 KF 快速吸收後續量測。         */
            if (fabsf(rel_alt - kf2_h) > 5.0f) {
              kf2_h   = rel_alt;
              kf2_v   = vz_baro_lp;   /* 以氣壓微分速度作初始估計 */
              kf2_p00 = 4.0f;
              kf2_p01 = 0.0f;
              kf2_p11 = 4.0f;
            }

            /* ── IMU 死亡備援：等速模型預測 ──────────────────────
             * IMU 正常時預測步由 10ms 區塊執行；IMU 死亡後預測停跑
             * → p01 不再增長 → K1→0 → kf2_v 永久凍結。
             * 此處改用等速模型 + 大 Q 預測，讓氣壓計獨立修正速度
             * （精度降為 ~±0.5m/s，但不會凍結，投放測試仍可量測）。*/
            if (!mod.imu) {
              kf2_h   += kf2_v * dt_baro;
              kf2_p00 += dt_baro * 2.0f * kf2_p01
                       + dt_baro * dt_baro * kf2_p11 + KF2_Q_H;
              kf2_p01 += dt_baro * kf2_p11;
              kf2_p11 += 0.05f;
            }

            /* ── KF2 更新（10ms，用氣壓計高度）──────────────────
             * 量測矩陣 H = [1, 0]（只量測高度）
             * y = baro_h - h_pred  (innovation)
             * S = P[0][0] + R
             * K = P*H^T / S
             * x = x + K*y,  P = (I - K*H)*P                 */
            {
              float y  = rel_alt - kf2_h;
              float S  = kf2_p00 + KF2_R_H;
              float K0 = kf2_p00 / S;
              float K1 = kf2_p01 / S;
              kf2_h += K0 * y;
              kf2_v += K1 * y;
              float p00n = (1.0f - K0) * kf2_p00;
              float p01n = (1.0f - K0) * kf2_p01;
              float p11n = kf2_p11 - K1 * kf2_p01;
              kf2_p00 = p00n;
              kf2_p01 = p01n;
              kf2_p11 = (p11n > 1e-4f) ? p11n : 1e-4f; /* 防協方差負數 */
            }

            /* ── 氣壓計微分速度（降落傘終端速度用）─────────────────
             * 每次有效氣壓讀值更新時，對高度差微分並進行 LP 濾波。
             * τ = 1s：靜態 σ ≈ 0.10 m/s，步階響應 ~3s 收斂到終端速度。
             * （若需更快但更噪：τ=0.5s；若需更穩但更慢：τ=2s）         */
            {
              static float rel_alt_vz_prev = 0.0f;
              static uint8_t vz_baro_inited = 0;
              if (!vz_baro_inited) {
                vz_baro_inited  = 1;
                rel_alt_vz_prev = rel_alt;
              } else {
                float vz_raw = (rel_alt - rel_alt_vz_prev) / dt_baro;
                float alpha  = dt_baro / (dt_baro + 1.0f);  /* τ=1s LP */
                vz_baro_lp  += alpha * (vz_raw - vz_baro_lp);
              }
              rel_alt_vz_prev = rel_alt;
            }
          }
          /* ── 落地偵測狀態機 ────────────────────────────────────────
           * FLIGHT → IMPACT：total_g > 6g 且 KF2 速度 < -1 m/s
           * IMPACT → LANDED：300ms 後氣壓高度變化 < 0.5m（確認靜止）
           * IMPACT → FLIGHT：300ms 後高度仍在變（誤判，繼續飛）
           * LANDED：持續將 kf2_v / imu_vz 歸零，防止積分漂移
           * ────────────────────────────────────────────────────── */
          switch (land_state) {
          case LAND_FLIGHT:
              if (total_g > 6.0f && kf2_v < -1.0f) {
                  land_state = LAND_IMPACT;
                  land_t0    = now;
                  land_baro0 = rel_alt;
                  /* 落地搶救 f_sync 不放這裡：本狀態機包在氣壓閘門內
                   * （mod.bmp585 + p_raw 範圍），而撞擊瞬間正是 BMP 最易
                   * 讀值異常的時刻（氣孔遮蔽/電壓凹陷，皆實證）——
                   * 搶救已移至 10ms IMU 塊的純 IMU 路徑（code-review S4）*/
              }
              break;
          case LAND_IMPACT:
              if (now - land_t0 >= 300UL) {
                  if (fabsf(rel_alt - land_baro0) < 0.5f) {
                      land_state = LAND_LANDED;
                      land_baro0 = rel_alt;   /* 記錄落地高度，供離地偵測 */
                      kf2_v  = 0.0f;
                      kf2_h  = rel_alt;
                      imu_vz = 0.0f;
                  } else {
                      land_state = LAND_FLIGHT;   /* 誤判，繼續 */
                  }
              }
              break;
          case LAND_LANDED:
              kf2_v  = 0.0f;
              imu_vz = 0.0f;
              /* 離地偵測：氣壓離開落地高度 >2m → 回到 FLIGHT。
               * 原本 LANDED 是終點站 → 同一次開機的第二次投放
               * vz 全程被釘在 0（多次投放測試的隱形殺手）。      */
              if (fabsf(rel_alt - land_baro0) > 2.0f)
                  land_state = LAND_FLIGHT;
              break;
          }

          /* 誤差鉗制：超過 ±20m 時不修正（等待 baro 恢復穩定）*/
          if (cf_init) {
            float err = rel_alt - imu_hz;
            if (fabsf(err) <= 20.0f) {
              float kp  = (total_g > 2.0f) ? 0.01f : 0.10f;
              float ki  = (total_g > 2.0f) ? 0.001f : 0.02f;
              imu_hz += kp * err;
              imu_vz += ki * err;
            }
          }
        } else {
          /* BMP 讀值超範圍 → 連續失敗標記死亡 */
          if (++bmp_err_cnt >= MOD_ERR_MAX) {
            mod.bmp585 = 0;
            cdc_write("WARN: BMP DEAD\r\n");
          }
        }
      } else {
        /* ── BMP 死亡自動復活：每 5s 重新初始化（與 SD 同策略）──
         * 原本標記死亡後永遠不再嘗試 → 一次瞬斷賠掉整趟資料 */
        static uint32_t bmp_reinit_t = 0;
        if (now - bmp_reinit_t >= 5000UL) {
          bmp_reinit_t = now;
          ImuFast_LockSpi();
          uint8_t bid = BMP585_Init(&hspi2);
          ImuFast_UnlockSpi();
          if (bid == 0x50 || bid == 0x51) {
            mod.bmp585 = 1; bmp_err_cnt = 0;
            cdc_write("BMP: REINIT OK\r\n");
          }
        }
      }
    }

    /* ─── ImuFast buffer 排空 → 寫入序號 CSV（每 64 筆一次）─── */
    if (imu_fil_open) {
      /* ① 優先把上次失敗的那批（retry buffer）補寫回去
       *    節流 100ms：避免卡片半死時每圈主迴圈關檔+開檔捶打 SD */
      static uint32_t csv_retry_wr_t = 0;
      if (csv_retry_len > 0 && now - csv_retry_wr_t >= 100UL) {
        csv_retry_wr_t = now;
        UINT bw2 = 0;
        FRESULT fr2 = f_write(&imu_fil, csv_retry_buf, (UINT)csv_retry_len, &bw2);
        if (fr2 == FR_OK && bw2 == (UINT)csv_retry_len) {
          csv_retry_len = 0;   /* 補寫成功，清除 retry */
        } else {
          /* retry 還是失敗 → 重開檔，本次跳過排新資料（保留 ring buffer）*/
          csv_err_cnt++;
          f_close(&imu_fil);
          if (f_open(&imu_fil, csv_name, FA_WRITE | FA_OPEN_APPEND) != FR_OK)
            imu_fil_open = 0;
        }
      }
      /* ② 只有在 retry 清空後，才排新資料寫入 CSV */
      if (imu_fil_open && csv_retry_len == 0 && ImuFast_Available() >= 64) {
        static char csv_buf[8192];
        int  csv_len = 0;
        ImuSample_t s;
        for (int _i = 0; _i < 64; _i++) {
          ImuFast_Pop(&s);
          float a_x = s.ax / 2048.0f;
          float a_y = s.ay / 2048.0f;
          float a_z = s.az / 2048.0f;
          float g_tot = sqrtf(a_x*a_x + a_y*a_y + a_z*a_z);
          if (csv_len > (int)sizeof(csv_buf) - 128) break;
          csv_len += snprintf(csv_buf + csv_len, (int)sizeof(csv_buf) - csv_len,
            "%lu,%.2f,%.2f,%.2f,%.4f,%.4f,%.4f,%.3f,%.2f,%.3f,%.3f\n",
            (unsigned long)s.ts_us,
            s.gx / 14.286f,  s.gy / 14.286f,  s.gz / 14.286f,
            a_x, a_y, a_z, g_tot,
            s.baro_m, s.vz_ms, s.hz_m);
        }
        UINT bw = 0;
        FRESULT fr_csv = f_write(&imu_fil, csv_buf, (UINT)csv_len, &bw);
        static uint16_t imu_sync_cnt = 0;
        if (fr_csv == FR_OK && bw == (UINT)csv_len) {
          /* 每 4 批（512ms）sync：斷電尾段損失 2s→0.5s（電池噴飛實證×2）。
           * ★ sync 失敗與寫入失敗分開處理：此時資料「已在檔內」，
           *   絕不可標成寫入失敗進 retry buffer 重寫——那會產生
           *   64 列重複（code-review C9）。FatFS 的 f_sync 失敗走
           *   LEAVE_FF、不設 fp->err 閂鎖（ff.c:3732），下一輪
           *   f_write/f_sync 會自然重試沖洗；這裡只記帳留痕。   */
          if (++imu_sync_cnt >= 4) {
            imu_sync_cnt = 0;
            if (f_sync(&imu_fil) != FR_OK) csv_err_cnt++;
          }
        } else if (fr_csv == FR_OK) {
          fr_csv = FR_DISK_ERR;   /* 短寫（bw != csv_len）＝真寫入失敗 */
        }
        if (fr_csv != FR_OK) {
          /* 把這批存進 retry buffer，下次迴圈優先補寫，避免資料丟失 */
          memcpy(csv_retry_buf, csv_buf, (size_t)csv_len);
          csv_retry_len = csv_len;
          csv_err_cnt++;
          f_close(&imu_fil);
          if (f_open(&imu_fil, csv_name, FA_WRITE | FA_OPEN_APPEND) != FR_OK)
            imu_fil_open = 0;
        }
      }
    }

    /* ─── CSV 斷線自動重啟（每 5s 嘗試一次）─── */
    if (!imu_fil_open && sd_init_done) {
      static uint32_t csv_retry_t = 0;
      if (now - csv_retry_t >= 5000UL && csv_name[0] != '\0') {
        csv_retry_t = now;
        if (f_open(&imu_fil, csv_name, FA_WRITE | FA_OPEN_APPEND) == FR_OK) {
          imu_fil_open  = 1;
          csv_retry_len = 0;
        }
      }
    }

    /* ─── 防假死排空（無條件）───────────────────────────────
     * SD 死亡/開檔失敗時 CSV 排空停擺 → ring buffer 4.1s 填滿 →
     * ISR 不再取樣 → GetLatest 永遠回同一筆舊樣 → 遙測/KF2/落地
     * 偵測全被凍結值毒化（imu 板 IMU_001 全空+Ax 凍結實案）。
     * 逼近全滿（>1900 ≈ 排空已停 3.7s，正常運作永遠到不了）時
     * 丟棄最舊樣本、保留最近 2s：超過 4s 的資料反正救不回，
     * 犧牲舊樣換 ISR 與即時值持續活著。                        */
    {
      uint16_t av = ImuFast_Available();
      /* 門檻從 IMUFAST_BUF_SIZE 推導（勿寫死：ring 曾 1024→2048 改過一次，
       * 寫死值在改大小後會讓保險絲靜默失效——code-review）。
       * 觸發＝逼近全滿（-128）；清到半滿。 */
      if (av > (uint16_t)(IMUFAST_BUF_SIZE - 128U)) {
        ImuSample_t d;
        uint16_t dropped = 0;
        while (av > (uint16_t)(IMUFAST_BUF_SIZE / 2U)) {
          ImuFast_Pop(&d); av--; dropped++;
        }
        /* 記帳（code-review C10）：丟樣必須留痕——計入 e 計數＋CDC 告警，
         * 否則事後只剩 CSV 裡一個無聲的 ts_us 跳躍 */
        csv_err_cnt++;
        { char m[48];
          snprintf(m, sizeof(m), "RING: DROP %u samples (SD stalled)\r\n",
                   (unsigned)dropped);
          cdc_write(m); }
      }
    }

    /* ─── UART/CDC 輸出每 500ms ─── */
    if (now - t_out >= 500) {
      t_out = now;
      HAL_GPIO_TogglePin(LED_B10_GPIO_Port, LED_B10_Pin);   /* 狀態燈（載板 PB10）*/

      /* ── LoRa 遙測（共用協定，2Hz；地面站與火箭端同一解析器）──────────
       * 格式須與 shared/protocol.h 的 RKT_LORA_TX_FMT 及 firmware-ground
       * 解析端一致（三處人工同步，改欄位要一起改）。
       * parachute 無 flight_state，用 land_state 映射協定狀態碼：
       *   LAND_FLIGHT→"LA"(空中/下降) / LAND_IMPACT→"DP"(撞擊確認中) /
       *   LAND_LANDED→"DD"(已落地)。
       * 非阻塞 TX：SendAsync 走 UART IT，不阻塞 500Hz 取樣（該取樣在 TIM2 ISR）。
       * ⚠ 封包 ~60B/500ms=120B/s，遠低於 E22 預設 2.4kbps air（~200B/s 有效）。*/
      if (mod.lora) {
        LoRa_PollTx();                       /* 先清上一包（超時保護）*/
        static uint32_t lora_seq = 0;
        const char *st_s = (land_state == LAND_LANDED) ? "DD"
                         : (land_state == LAND_IMPACT) ? "DP" : "LA";
        lora_seq++;                          /* 序號遞增，接收端偵測掉包 */
        char lora_pkt[96];
        int lp = snprintf(lora_pkt, sizeof(lora_pkt),
          "N=%lu T=%lu P=%.2f RH=%.1f KH=%.1f G=%.2f S=%s M=%d%d%d%d\n",
          (unsigned long)lora_seq, (unsigned long)now,
          press, rel_alt, kf2_h, total_g, st_s,
          mod.bmp585, mod.imu, mod.lora, mod.sdcard);
        if (lp > 0 && lp < (int)sizeof(lora_pkt))
          LoRa_SendAsync((uint8_t*)lora_pkt, (uint8_t)lp);
      }

      static char b[256]; int n;
      n = snprintf(b, sizeof(b),
        "T=%-7lu Ax=%+.3f Ay=%+.3f Az=%+.3f "
        "Gx=%+7.2f Gy=%+7.2f Gz=%+7.2f "
        "P=%7.2f RelH=%6.1f KfH=%6.1f KfV=%+6.2f "
        "G=%.2f Waz=%+.3f qn=%.2f att=%d LD=%d%s MOD=%d%d%d SD=%lu IMU500=%lu(ms%lu,e%u)\r\n",
        (unsigned long)now, ax, ay, az,
        gx/0.017453293f, gy/0.017453293f, gz/0.017453293f,
        press, rel_alt, kf2_h, kf2_v,
        total_g, (float)imu_fast_world_az, ImuFast_GetQn2(),
        (int)imu_fast_att_ok, (int)land_state,
        imu_ok?"":" !IMU",
        mod.bmp585, mod.imu, mod.sdcard,
        (unsigned long)sd_write_cnt,
        (unsigned long)ImuFast_Available(),
        (unsigned long)ImuFast_GetMissed(),
        (unsigned)csv_err_cnt);

      if (n > 0 && n < (int)sizeof(b)) {
        /* SD 寫入 */
        if (mod.sdcard && logger_is_ready()) {
          UINT bw_sd = 0;
          FRESULT fw = f_write(&file, b, (UINT)n, &bw_sd);
          if (fw == FR_OK && bw_sd == (UINT)n) {
            /* f_sync 每 4 次（2s）一次：斷電最多丟 2s 資料 */
            static uint8_t log_sync_cnt = 0;
            if (++log_sync_cnt >= 4) { log_sync_cnt = 0; f_sync(&file); }
            sd_write_cnt++;
          } else {
            static uint8_t sd_err_cnt = 0;
            if (sd_err_cnt < 5) {
              /* 法醫輸出：fw=9 (FR_INVALID_OBJECT) 的判定要素全印出來
               *   fs : file.obj.fs 指標（0=被關閉；非 &USERFatFS=被改寫）
               *   fid/vid : FIL 記錄的掛載 id vs 卷的目前 id（不等=發生過重掛載）
               *   ty : USERFatFS.fs_type（0=FATFS 物件被清掉/損毀）
               *   err : FIL 內部鎖存的 I/O 錯誤碼                     */
              char e[112];
              snprintf(e,sizeof(e),
                "SD_ERR fw=%d bw=%u n=%d | fs=%08lX(&v=%08lX) fid=%u vid=%u ty=%d err=%d\r\n",
                (int)fw,(unsigned)bw_sd,n,
                (unsigned long)(uint32_t)file.obj.fs,
                (unsigned long)(uint32_t)&USERFatFS,
                (unsigned)file.obj.id,(unsigned)USERFatFS.id,
                (int)USERFatFS.fs_type,(int)file.err);
              cdc_write(e); sd_err_cnt++;
            }
            /* ── LOG 自動復活（每 5s 重試一次，分級恢復）────────────
             * 第 1 次：溫和 — logger_init 重新掛載+開檔（治 FIL 失效）。
             * 第 2 次起：硬重置 — 直接重跑 SD_disk_initialize（SPI 版
             *   完整重新初始化：CMD0 重試 + 速度重設），再重新掛載。
             *   卡片若因電壓凹陷/震動瞬斷自行重置，FatFS 這端不知道
             *   → 必須整條重來（舊 SDIO 板的 HAL_SD_DeInit 等效操作）。
             * 注意：重掛載會使 imu_fil 失效 → CSV 下一批寫入失敗一次，
             *   由 CSV retry buffer + 5s 重開機制接手，資料不丟。      */
            static uint32_t log_retry_t = 0;
            static uint8_t  log_retry_fails = 0;
            if (now - log_retry_t >= 5000UL) {
              log_retry_t = now;
              if (log_retry_fails >= 1) {
                f_close(&imu_fil); imu_fil_open = 0;
                SD_disk_initialize(0);   /* SPI SD 完整重新初始化 */
                cdc_write("SD: HARD RESET\r\n");
              }
              logger_init();
              if (logger_is_ready()) log_retry_fails = 0;
              else if (log_retry_fails < 200) log_retry_fails++;
            }
          }
        }
        /* USB CDC 遙測（使用者打字中暫停，避免蓋掉輸入行）*/
        if (!cmd_is_typing()) { cdc_write(b); }
      }
    }
  }
  /* USER CODE END 3 */
}

void SystemClock_Config(void)
{
  RCC_OscInitTypeDef RCC_OscInitStruct = {0};
  RCC_ClkInitTypeDef RCC_ClkInitStruct = {0};

  /** Configure the main internal regulator output voltage
  */
  __HAL_RCC_PWR_CLK_ENABLE();
  __HAL_PWR_VOLTAGESCALING_CONFIG(PWR_REGULATOR_VOLTAGE_SCALE1);

  /** Initializes the RCC Oscillators according to the specified parameters
  * in the RCC_OscInitTypeDef structure.
  *
  * 黑丸版（WeAct Black Pill）：板載 25MHz HSE 晶振。
  *   HSE=25MHz / PLLM=25 → VCO_in=1MHz
  *   PLLN=336 → VCO=336MHz
  *   PLLP=DIV4 → SYSCLK=84MHz
  *   PLLQ=7   → USB=48MHz
  */
  RCC_OscInitStruct.OscillatorType = RCC_OSCILLATORTYPE_HSE;
  RCC_OscInitStruct.HSEState = RCC_HSE_ON;
  RCC_OscInitStruct.PLL.PLLState = RCC_PLL_ON;
  RCC_OscInitStruct.PLL.PLLSource = RCC_PLLSOURCE_HSE;
  RCC_OscInitStruct.PLL.PLLM = 25;   /* 25MHz / 25 = 1MHz VCO_in  */
  RCC_OscInitStruct.PLL.PLLN = 336;  /* VCO = 336MHz               */
  RCC_OscInitStruct.PLL.PLLP = RCC_PLLP_DIV4; /* SYSCLK = 84MHz   */
  RCC_OscInitStruct.PLL.PLLQ = 7;   /* USB = 48MHz                 */
  if (HAL_RCC_OscConfig(&RCC_OscInitStruct) != HAL_OK)
  {
    Error_Handler();
  }

  /** Initializes the CPU, AHB and APB buses clocks
  */
  RCC_ClkInitStruct.ClockType = RCC_CLOCKTYPE_HCLK|RCC_CLOCKTYPE_SYSCLK
                              |RCC_CLOCKTYPE_PCLK1|RCC_CLOCKTYPE_PCLK2;
  RCC_ClkInitStruct.SYSCLKSource = RCC_SYSCLKSOURCE_PLLCLK;
  RCC_ClkInitStruct.AHBCLKDivider = RCC_SYSCLK_DIV1;
  RCC_ClkInitStruct.APB1CLKDivider = RCC_HCLK_DIV2;
  RCC_ClkInitStruct.APB2CLKDivider = RCC_HCLK_DIV1;

  if (HAL_RCC_ClockConfig(&RCC_ClkInitStruct, FLASH_LATENCY_2) != HAL_OK)
  {
    Error_Handler();
  }
}

void Error_Handler(void)
{
  /* USER CODE BEGIN Error_Handler_Debug */
  /* 不呼叫 __disable_irq() — 保持 USB 中斷存活，COM 埠才不會消失
   * LED 快閃示警（載板 LED = PB10）                                */
  while (1)
  {
    HAL_GPIO_TogglePin(LED_B10_GPIO_Port, LED_B10_Pin);
    HAL_Delay(100);   /* 快閃 5Hz → 表示 Error_Handler 被呼叫 */
  }
  /* USER CODE END Error_Handler_Debug */
}
